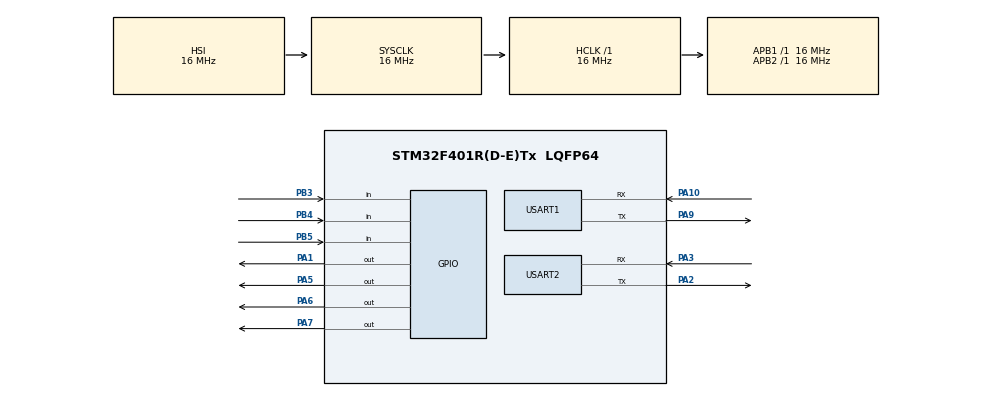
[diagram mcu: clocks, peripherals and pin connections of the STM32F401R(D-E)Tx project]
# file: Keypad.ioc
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Mcu.Family=STM32F4
Mcu.Name=STM32F401R(D-E)Tx
Mcu.Package=LQFP64
NVIC.PriorityGroup=NVIC_PRIORITYGROUP_4
PA1.Signal=GPIO_Output
PA10.Mode=Asynchronous
PA10.Signal=USART1_RX
PA2.Mode=Asynchronous
PA2.Signal=USART2_TX
PA3.Mode=Asynchronous
PA3.Signal=USART2_RX
PA5.Signal=GPIO_Output
PA6.Signal=GPIO_Output
PA7.Signal=GPIO_Output
PA9.Mode=Asynchronous
PA9.Signal=USART1_TX
PB3.GPIO_PuPd=GPIO_PULLUP
PB3.Signal=GPIO_Input
PB4.GPIO_PuPd=GPIO_PULLUP
PB4.Signal=GPIO_Input
PB5.GPIO_PuPd=GPIO_PULLUP
PB5.Signal=GPIO_Input
ProjectManager.HeapSize=0x200
ProjectManager.StackSize=0x400
ProjectManager.TargetToolchain=STM32CubeIDE
RCC.AHBFreq_Value=16000000
RCC.APB1Freq_Value=16000000
RCC.APB2Freq_Value=16000000
RCC.CortexFreq_Value=16000000
RCC.HSE_VALUE=25000000
RCC.HSI_VALUE=16000000
RCC.LSE_VALUE=32768
RCC.SYSCLKFreq_VALUE=16000000
RCC.VCOOutputFreq_Value=192000000
USART1.VirtualMode=VM_ASYNC
USART2.VirtualMode=VM_ASYNC
board=custom

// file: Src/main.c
/* USER CODE BEGIN Header */
/**
  ******************************************************************************
  * @file           : main.c
  * @brief          : Main program body
  ******************************************************************************
  * @attention
  *
  * Copyright (c) 2024 STMicroelectronics.
  * All rights reserved.
  *
  * This software is licensed under terms that can be found in the LICENSE file
  * in the root directory of this software component.
  * If no LICENSE file comes with this software, it is provided AS-IS.
  *
  ******************************************************************************
  */
/* USER CODE END Header */
#include "main.h"

/* USER CODE BEGIN Includes */
#include <string.h>
#include <stdio.h>
/* USER CODE END Includes */

/* USER CODE BEGIN PD */
#define ROW1_PIN GPIO_PIN_1
#define ROW2_PIN GPIO_PIN_7
#define ROW3_PIN GPIO_PIN_6
#define ROW4_PIN GPIO_PIN_5
#define ROW_PORT GPIOA

#define COL1_PIN GPIO_PIN_3
#define COL2_PIN GPIO_PIN_5
#define COL3_PIN GPIO_PIN_4
#define COL_PORT GPIOB
/* USER CODE END PD */

UART_HandleTypeDef huart1;
UART_HandleTypeDef huart2;

void SystemClock_Config(void);
static void MX_GPIO_Init(void);
static void MX_USART2_UART_Init(void);
static void MX_USART1_UART_Init(void);

int main(void)
{

  /* MCU Configuration--------------------------------------------------------*/

  /* Reset of all peripherals, Initializes the Flash interface and the Systick. */
  HAL_Init();

  /* Configure the system clock */
  SystemClock_Config();

  /* Initialize all configured peripherals */
  MX_GPIO_Init();
  MX_USART2_UART_Init();
  MX_USART1_UART_Init();
  /* USER CODE BEGIN 2 */
  char msg[20];
  /* USER CODE END 2 */

  /* Infinite loop */
  /* USER CODE BEGIN WHILE */
  while (1)
  {
	  char pressedButton = scanButtonMatrix();
	  	  	  if (pressedButton != 0){
//	  	  		  sprintf(msg, "%c\r\n", pressedButton);
	  	  		  sendButtonPress(pressedButton);

	  	  	  }
	  	  	  //Transmit message through UART
	  	  	  HAL_UART_Transmit(&huart2, (uint8_t*)msg, strlen(msg), HAL_MAX_DELAY);
	  	  	  HAL_Delay(200);
    /* USER CODE END WHILE */

  }
}

void SystemClock_Config(void)
{
  RCC_OscInitTypeDef RCC_OscInitStruct = {0};
  RCC_ClkInitTypeDef RCC_ClkInitStruct = {0};

  /** Configure the main internal regulator output voltage
  */
  __HAL_RCC_PWR_CLK_ENABLE();
  __HAL_PWR_VOLTAGESCALING_CONFIG(PWR_REGULATOR_VOLTAGE_SCALE2);

  /** Initializes the RCC Oscillators according to the specified parameters
  * in the RCC_OscInitTypeDef structure.
  */
  RCC_OscInitStruct.OscillatorType = RCC_OSCILLATORTYPE_HSI;
  RCC_OscInitStruct.HSIState = RCC_HSI_ON;
  RCC_OscInitStruct.HSICalibrationValue = RCC_HSICALIBRATION_DEFAULT;
  RCC_OscInitStruct.PLL.PLLState = RCC_PLL_NONE;
  if (HAL_RCC_OscConfig(&RCC_OscInitStruct) != HAL_OK)
  {
    Error_Handler();
  }

  /** Initializes the CPU, AHB and APB buses clocks
  */
  RCC_ClkInitStruct.ClockType = RCC_CLOCKTYPE_HCLK|RCC_CLOCKTYPE_SYSCLK
                              |RCC_CLOCKTYPE_PCLK1|RCC_CLOCKTYPE_PCLK2;
  RCC_ClkInitStruct.SYSCLKSource = RCC_SYSCLKSOURCE_HSI;
  RCC_ClkInitStruct.AHBCLKDivider = RCC_SYSCLK_DIV1;
  RCC_ClkInitStruct.APB1CLKDivider = RCC_HCLK_DIV1;
  RCC_ClkInitStruct.APB2CLKDivider = RCC_HCLK_DIV1;

  if (HAL_RCC_ClockConfig(&RCC_ClkInitStruct, FLASH_LATENCY_0) != HAL_OK)
  {
    Error_Handler();
  }
}

static void MX_USART1_UART_Init(void)
{

  /* USER CODE BEGIN USART1_Init 0 */
//	_HAL_RCC_USART1_CLK_ENABLE();

  /* USER CODE END USART1_Init 0 */

  huart1.Instance = USART1;
  huart1.Init.BaudRate = 9600; // orig: 115200
  huart1.Init.WordLength = UART_WORDLENGTH_8B;
  huart1.Init.StopBits = UART_STOPBITS_1;
  huart1.Init.Parity = UART_PARITY_NONE;
  huart1.Init.Mode = UART_MODE_TX_RX;
  huart1.Init.HwFlowCtl = UART_HWCONTROL_NONE;
  huart1.Init.OverSampling = UART_OVERSAMPLING_16;
  if (HAL_UART_Init(&huart1) != HAL_OK)
  {
    Error_Handler();
  }

}

static void MX_USART2_UART_Init(void)
{

  huart2.Instance = USART2;
  huart2.Init.BaudRate = 115200;
  huart2.Init.WordLength = UART_WORDLENGTH_8B;
  huart2.Init.StopBits = UART_STOPBITS_1;
  huart2.Init.Parity = UART_PARITY_NONE;
  huart2.Init.Mode = UART_MODE_TX_RX;
  huart2.Init.HwFlowCtl = UART_HWCONTROL_NONE;
  huart2.Init.OverSampling = UART_OVERSAMPLING_16;
  if (HAL_UART_Init(&huart2) != HAL_OK)
  {
    Error_Handler();
  }

}

static void MX_GPIO_Init(void)
{
  GPIO_InitTypeDef GPIO_InitStruct = {0};

  /* GPIO Ports Clock Enable */
  __HAL_RCC_GPIOA_CLK_ENABLE();
  __HAL_RCC_GPIOB_CLK_ENABLE();

  /*Configure GPIO pin Output Level */
  HAL_GPIO_WritePin(GPIOA, GPIO_PIN_1|GPIO_PIN_5|GPIO_PIN_6|GPIO_PIN_7, GPIO_PIN_RESET);

  /*Configure GPIO pins : PA1 PA5 PA6 PA7 */
  GPIO_InitStruct.Pin = GPIO_PIN_1|GPIO_PIN_5|GPIO_PIN_6|GPIO_PIN_7;
  GPIO_InitStruct.Mode = GPIO_MODE_OUTPUT_PP;
  GPIO_InitStruct.Pull = GPIO_NOPULL;
  GPIO_InitStruct.Speed = GPIO_SPEED_FREQ_LOW;
  HAL_GPIO_Init(GPIOA, &GPIO_InitStruct);

  /*Configure GPIO pins : PB3 PB4 PB5 */
  GPIO_InitStruct.Pin = GPIO_PIN_3|GPIO_PIN_4|GPIO_PIN_5;
  GPIO_InitStruct.Mode = GPIO_MODE_INPUT;
  GPIO_InitStruct.Pull = GPIO_PULLUP;
  HAL_GPIO_Init(GPIOB, &GPIO_InitStruct);

}

/* USER CODE BEGIN 4 */

void setRowPinsHigh(){
	HAL_GPIO_WritePin(ROW_PORT, ROW1_PIN, GPIO_PIN_SET);
	HAL_GPIO_WritePin(ROW_PORT, ROW2_PIN, GPIO_PIN_SET);
	HAL_GPIO_WritePin(ROW_PORT, ROW3_PIN, GPIO_PIN_SET);
    HAL_GPIO_WritePin(ROW_PORT, ROW4_PIN, GPIO_PIN_SET);
}

char scanButtonMatrix(){
	const char buttonMap[4][3] = {
	  		{'1', '2', '3'},
	  		{'4', '5', '6'},
	  		{'7', '8', '9'},
	  		{'L', '0', 'R'},
	  };
	for (int row = 0; row < 4; ++row) {
	        // Set all rows HIGH
		setRowPinsHigh();

	        // Set the current row LOW
		if (row == 0) HAL_GPIO_WritePin(ROW_PORT, ROW1_PIN, GPIO_PIN_RESET);
		if (row == 1) HAL_GPIO_WritePin(ROW_PORT, ROW2_PIN, GPIO_PIN_RESET);
		if (row == 2) HAL_GPIO_WritePin(ROW_PORT, ROW3_PIN, GPIO_PIN_RESET);
		if (row == 3) HAL_GPIO_WritePin(ROW_PORT, ROW4_PIN, GPIO_PIN_RESET);

	        // Check each column for a button press
		if (HAL_GPIO_ReadPin(COL_PORT, COL1_PIN) == GPIO_PIN_RESET) return buttonMap[row][0];
		if (HAL_GPIO_ReadPin(COL_PORT, COL2_PIN) == GPIO_PIN_RESET) return buttonMap[row][1];
		if (HAL_GPIO_ReadPin(COL_PORT, COL3_PIN) == GPIO_PIN_RESET) return buttonMap[row][2];
	}

	return 0;
}

void sendButtonPress(char button){
	HAL_UART_Transmit(&huart1, (uint8_t*)&button, 1, HAL_MAX_DELAY);
}

/* USER CODE END 4 */

void Error_Handler(void)
{
  __disable_irq();
  while (1)
  {
  }
}
